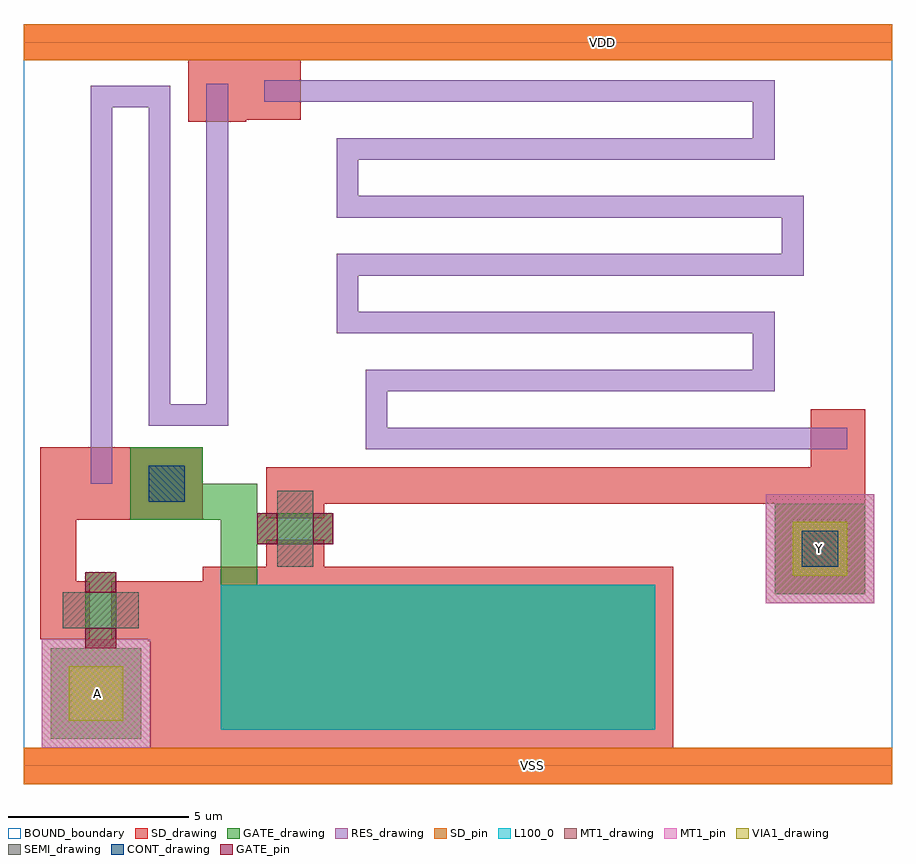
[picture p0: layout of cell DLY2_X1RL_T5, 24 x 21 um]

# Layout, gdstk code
from math import pi, radians
import gdstk
lib = gdstk.Library(unit=1e-6, precision=1e-09)
def R(c, l, rs):  # rectangles x0, y0, x1, y1
    for r in rs: c.add(gdstk.rectangle(r[:2], r[2:], *l))
def P(c, l, *ps):  # polygons
    for p in ps: c.add(gdstk.Polygon(p, *l))
RES_drawing = (1, 0)
SEMI_drawing = (3, 0)
SD_drawing = (10, 0)
SD_pin = (10, 3)
GATE_drawing = (11, 0)
GATE_pin = (11, 3)
MT1_drawing = (20, 0)
MT1_pin = (20, 3)
CONT_drawing = (30, 0)
VIA1_drawing = (41, 0)
L100_0 = (100, 0)
BOUND_boundary = (150, 5)

nch_cdns_772544869580 = lib.new_cell('nch_CDNS_772544869580')
R(nch_cdns_772544869580, SEMI_drawing, [(-1.05,-0.5,1.05,0.5)])
R(nch_cdns_772544869580, SD_drawing, [(-1.3,-0.8,-0.3,0.8), (0.3,-0.8,1.3,0.8)])
R(nch_cdns_772544869580, GATE_drawing, [(-0.425,-1.05,0.425,1.05)])
R(nch_cdns_772544869580, GATE_pin, [(-0.425,-1.05,0.425,-0.5), (-0.425,0.5,0.425,1.05)])

cap_cdns_772544869581 = lib.new_cell('cap_CDNS_772544869581')
R(cap_cdns_772544869581, SD_drawing, [(-6.5,-2.5,6.5,2.5)])
R(cap_cdns_772544869581, GATE_drawing, [(-6,-2,6,2)])
R(cap_cdns_772544869581, L100_0, [(-6,-2,6,2)])

gate_mt1_cdns_7725448695 = lib.new_cell('GATE_MT1_CDNS_772544869580')
R(gate_mt1_cdns_7725448695, GATE_drawing, [(-1.25,-1.25,1.25,1.25)])
R(gate_mt1_cdns_7725448695, MT1_drawing, [(-1.25,-1.25,1.25,1.25)])
R(gate_mt1_cdns_7725448695, VIA1_drawing, [(-0.75,-0.75,0.75,0.75)])

sd_gate_cdns_77254486958 = lib.new_cell('SD_GATE_CDNS_772544869581')
R(sd_gate_cdns_77254486958, SD_drawing, [(-1,-1,1,1)])
R(sd_gate_cdns_77254486958, GATE_drawing, [(-1,-1,1,1)])
R(sd_gate_cdns_77254486958, CONT_drawing, [(-0.5,-0.5,0.5,0.5)])

dly2_x1rl_t5 = lib.new_cell('DLY2_X1RL_T5')
R(dly2_x1rl_t5, RES_drawing, [(1.85,7.8,2.45,9.8), (9.45,8.75,20.75,9.35), (20.75,8.75,22.75,9.35), (9.45,9.35,10.05,10.35), (3.45,9.4,4.05,18.8), (4.05,9.4,5.05,10), (5.05,9.4,5.65,16.85), (1.85,9.8,2.45,18.8), (9.45,10.35,20.75,10.95), (20.15,10.95,20.75,11.95), (8.65,11.95,20.75,12.55), (8.65,12.55,9.25,13.55), (8.65,13.55,21.55,14.15), (20.95,14.15,21.55,15.15), (8.65,15.15,21.55,15.75), (8.65,15.75,9.25,16.75), (8.65,16.75,20.75,17.35), (5.05,16.85,5.65,18.85), (20.15,17.35,20.75,18.35), (2.45,18.2,3.45,18.8), (6.65,18.35,8.65,18.95), (8.65,18.35,20.75,18.95)])
R(dly2_x1rl_t5, SD_drawing, [(20.75,4.75,23.25,7.25), (1.35,6.8,2.95,8.8), (21.75,8.25,23.25,9.85), (4.55,17.8,6.15,19.5), (6.15,17.85,7.65,19.45), (6.15,19.4,7.65,19.5)])
P(dly2_x1rl_t5, SD_drawing, [(4.95,5.1),(3.425,5.1),(3.425,3.45),(3.5,3.45),(3.5,0.5),(4.95,0.5)])
R(dly2_x1rl_t5, SD_pin, [(0,-0.5,24,0.5), (0,19.5,24,20.5)])
P(dly2_x1rl_t5, GATE_drawing, [(6.35,7.075),(6.35,6.075),(6.45,6.075),(6.45,6.175),(6.5,6.175),(6.5,6.925),(6.45,6.925),(6.45,7.075)],
  [(1.6,3.15),(2.6,3.15),(2.6,3.25),(2.5,3.25),(2.5,3.3),(1.75,3.3),(1.75,3.25),(1.6,3.25)])
R(dly2_x1rl_t5, MT1_drawing, [(0.5,0.5,3.5,3.5), (20.5,4.5,23.5,7.5)])
R(dly2_x1rl_t5, MT1_pin, [(0.5,0.5,3.5,3.5), (20.5,4.5,23.5,7.5)])
R(dly2_x1rl_t5, BOUND_boundary, [(0,0,24,20)])
dly2_x1rl_t5.add(gdstk.FlexPath([(5.95,6.5),(5.95,4.75)], 1, ends=(0.5, 0), simple_path=True, layer=11, datatype=0))  # GATE_drawing
dly2_x1rl_t5.add(gdstk.FlexPath([(6.45,6.5),(5.95,6.5)], 1, ends=(0, 0.5), simple_path=True, layer=11, datatype=0))  # GATE_drawing
dly2_x1rl_t5.add(gdstk.FlexPath([(3.75,7.3),(5.95,7.3)], 1, ends=(0, 0.5), simple_path=True, layer=11, datatype=0))  # GATE_drawing
dly2_x1rl_t5.add(gdstk.FlexPath([(5.95,7.3),(5.95,6.5)], 1, ends="extended", simple_path=True, layer=11, datatype=0))  # GATE_drawing
dly2_x1rl_t5.add(gdstk.FlexPath([(0.95,8.8),(0.95,3.5)], 1, ends="flush", simple_path=True, layer=10, datatype=0))  # SD_drawing
dly2_x1rl_t5.add(gdstk.FlexPath([(7.2,7.75),(23.25,7.75)], 1, ends=(0.5, 0), simple_path=True, layer=10, datatype=0))  # SD_drawing
dly2_x1rl_t5.add(gdstk.FlexPath([(7.2,7.05),(7.2,7.75)], 1, ends=(0, 0.5), simple_path=True, layer=10, datatype=0))  # SD_drawing
dly2_x1rl_t5.add(gdstk.FlexPath([(0,0),(24,0)], 1, ends="flush", simple_path=True, layer=10, datatype=0))  # SD_drawing
dly2_x1rl_t5.add(gdstk.FlexPath([(0,20),(24,20)], 1, ends="flush", simple_path=True, layer=10, datatype=0))  # SD_drawing
dly2_x1rl_t5.add(gdstk.Reference(nch_cdns_772544869580, (7.5,6.55), rotation=pi/2))
dly2_x1rl_t5.add(gdstk.Reference(nch_cdns_772544869580, (2.125,4.3), rotation=pi))
dly2_x1rl_t5.add(gdstk.Reference(cap_cdns_772544869581, (11.45,3)))
dly2_x1rl_t5.add(gdstk.Reference(gate_mt1_cdns_7725448695, (22,6)))
dly2_x1rl_t5.add(gdstk.Reference(gate_mt1_cdns_7725448695, (2,2)))
dly2_x1rl_t5.add(gdstk.Reference(sd_gate_cdns_77254486958, (22,6)))
dly2_x1rl_t5.add(gdstk.Reference(sd_gate_cdns_77254486958, (3.95,7.8)))
dly2_x1rl_t5.add(gdstk.Label('VDD', (16,20), layer=10, texttype=3))
dly2_x1rl_t5.add(gdstk.Label('VSS', (14.05,0), layer=10, texttype=3))
dly2_x1rl_t5.add(gdstk.Label('Y', (22,6), layer=20, texttype=3))
dly2_x1rl_t5.add(gdstk.Label('A', (2.05,2), layer=20, texttype=3))
dly2_x1rl_t5.add(gdstk.Label('Y', (22,6), layer=20, texttype=3))
dly2_x1rl_t5.add(gdstk.Label('A', (2,2), layer=20, texttype=3))
dly2_x1rl_t5.add(gdstk.Label('Y', (22,6), layer=20, texttype=3))
dly2_x1rl_t5.add(gdstk.Label('A', (2,1.95), layer=20, texttype=3))

lib.write_gds('DLY2_X1RL_T5.gds')
